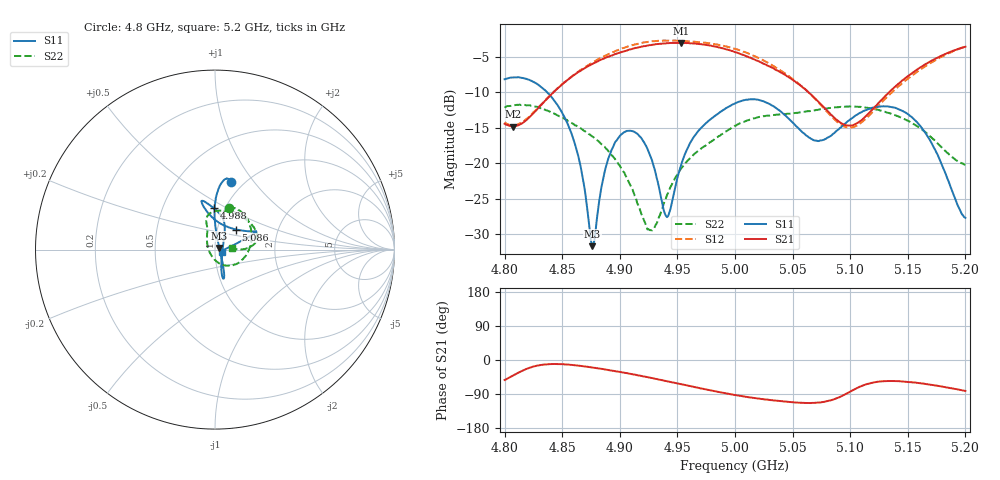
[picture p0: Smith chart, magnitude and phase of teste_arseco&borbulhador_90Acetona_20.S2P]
! Network Analyzer HP8722D
! Hewlett-Packard
! Data name: Linha & Wilkinson
! Saver's name: Rodrigo Anjos
! Comments: Teste da utilização de aquisição
! continua pelo VNA HP8722D
! Time and date: 17/4/2025 11:13
!  Frequency  S11  S21  S12  S22
# HZ  S  MA R 50
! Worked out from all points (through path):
!   401 points, 4.8 GHz to 5.2 GHz, reference 50 ohm
!   highest |S21| = -3.08 dB at 4.953 GHz (marker M1); lowest = -14.9 dB at 4.807 GHz (marker M2)
!   lowest |S11| = -31.7 dB at 4.876 GHz (marker M3), VSWR 1.05, Z = 52.5 + j0.977 ohm
!   |S11| at or under -10 dB: 4.837 GHz to end of sweep
!   |S22| runs from -29.5 to -11.8 dB; largest |S21 - S12| = 1.4
!   S11 on the Smith chart (normalised r, x): 4.8 GHz: 0.87, +0.78; 4.988 GHz: 0.89, +0.43; 5.086 GHz: 1.23, +0.28; 5.2 GHz: 1.08, -0.03
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4.8e9  0.3894 76.8  0.1891 -52.7  0.1929 82.1  0.2455 72.0
4.807e9  0.4011 78.9  0.1808 -41.7  0.1841 92.3  0.2545 65.9
4.844e9  0.2696 89.5  0.3243 -10.6  0.3245 122.7  0.2211 23.0
4.858e9  0.1623 90.3  0.4044 -12.9  0.4051 122.5  0.192 1.7
4.867e9  0.0856 83.9  0.4537 -16.1  0.4572 121.0  0.1737 -12.2
4.876e9  0.02603 20.9  0.4984 -19.8  0.5095 118.9  0.1541 -26.4
4.888e9  0.09464 -62.4  0.5537 -25.4  0.5722 114.7  0.1264 -44.8
4.902e9  0.1609 -71.6  0.607 -32.6  0.6426 108.9  0.08994 -66.0
4.924e9  0.126 -73.4  0.671 -45.4  0.7115 96.7  0.03415 -136.6
4.934e9  0.06763 -57.7  0.6901 -51.7  0.7273 90.3  0.0417 160.5
4.942e9  0.04246 4.3  0.6983 -56.7  0.7281 85.2  0.06195 135.6
4.953e9  0.09571 56.7  0.7015 -63.8  0.7227 78.3  0.0909 119.6
4.966e9  0.1596 71.5  0.6926 -71.9  0.7135 70.0  0.1183 111.1
4.988e9  0.2311 91.7  0.6454 -85.6  0.6736 55.8  0.1592 107.9
5e9  0.2632 100.0  0.6041 -92.4  0.6384 48.4  0.1831 105.0
5.029e9  0.263 105.6  0.4827 -105.0  0.5059 33.6  0.2159 88.3
5.067e9  0.147 76.6  0.2996 -113.1  0.2971 27.6  0.2331 54.5
5.086e9  0.1623 43.6  0.2094 -103.6  0.2045 39.2  0.2462 36.4
5.105e9  0.2174 28.0  0.189 -75.6  0.1825 69.3  0.2494 22.1
5.134e9  0.2496 23.1  0.3166 -55.5  0.3027 90.9  0.2249 8.9
5.165e9  0.1645 18.8  0.4953 -63.3  0.4789 85.0  0.1657 1.3
5.2e9  0.04117 -17.0  0.6591 -81.7  0.6603 67.5  0.0974 5.5
